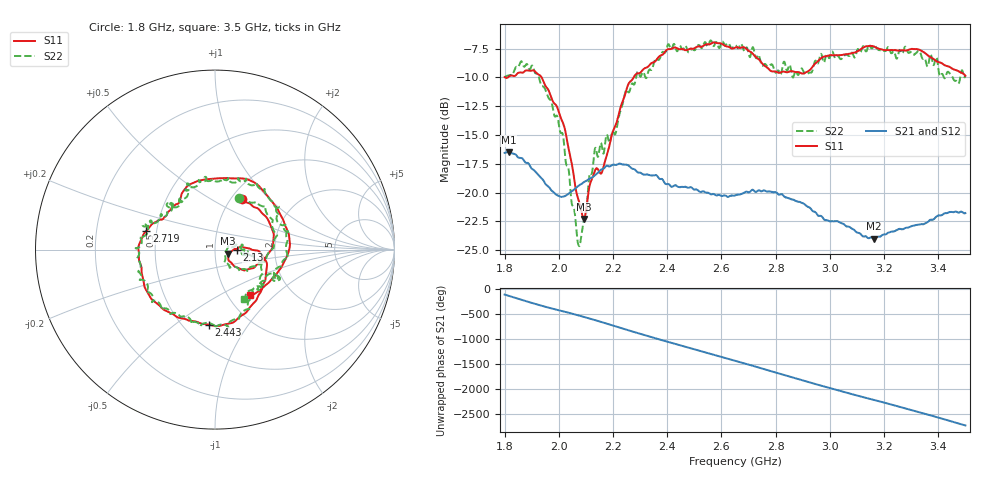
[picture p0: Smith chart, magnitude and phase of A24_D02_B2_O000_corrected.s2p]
! Created with skrf 1.9.0 (http://scikit-rf.org).
# Hz S RI R 50.0
!freq ReS11 ImS11 ReS21 ImS21 ReS12 ImS12 ReS22 ImS22
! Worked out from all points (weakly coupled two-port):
!   1601 points, 1.8 GHz to 3.5 GHz, reference 50 ohm
!   highest |S21| = -16.50 dB at 1.816 GHz (marker M1); lowest = -24.0 dB at 3.163 GHz (marker M2)
!   lowest |S11| = -22.3 dB at 2.092 GHz (marker M3), VSWR 1.17, Z = 57.8 - j2.65 ohm
!   |S11| at or under -10 dB: 1.801 GHz to 1.812 GHz (11.05 MHz wide, 0.612 % of centre); 1.936 GHz to 2.276 GHz (339.8 MHz wide, 16.1 % of centre)
!   |S22| runs from -24.7 to -6.8 dB; largest |S21 - S12| = 0.0026
!   S11 on the Smith chart (normalised r, x): 1.8 GHz: 1.12, +0.70; 2.13 GHz: 1.28, -0.01; 2.443 GHz: 0.66, -0.67; 2.719 GHz: 0.44, +0.11; 3.5 GHz: 1.26, -0.72
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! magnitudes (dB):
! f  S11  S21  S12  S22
! 1.8 GHz  -10.0  -16.6  -16.6  -9.9
! 1.816 GHz  -9.9  -16.5  -16.5  -9.8
! 1.902 GHz  -9.4  -18.0  -17.9  -9.0
! 1.968 GHz  -11.5  -19.7  -19.7  -11.9
! 2.015 GHz  -13.9  -20.4  -20.4  -15.0
! 2.071 GHz  -20.5  -19.4  -19.5  -24.4
! 2.084 GHz  -21.7  -19.3  -19.2  -23.6
! 2.092 GHz  -22.3  -19.1  -19.1  -22.4
! 2.13 GHz  -18.3  -18.5  -18.5  -16.6
! 2.162 GHz  -18.0  -18.0  -17.9  -16.5
! 2.209 GHz  -14.2  -17.6  -17.6  -14.9
! 2.259 GHz  -10.5  -17.7  -17.7  -11.3
! 2.367 GHz  -8.3  -18.7  -18.6  -8.5
! 2.443 GHz  -7.6  -19.5  -19.5  -7.4
! 2.65 GHz  -7.4  -20.2  -20.2  -7.2
! 2.719 GHz  -8.0  -19.8  -19.7  -7.6
! 2.804 GHz  -9.5  -20.0  -20.1  -9.5
! 2.934 GHz  -9.2  -21.5  -21.5  -9.5
! 3.163 GHz  -7.3  -24.0  -24.0  -7.2
! 3.217 GHz  -7.6  -23.5  -23.4  -7.4
! 3.328 GHz  -7.6  -22.8  -22.8  -7.7
! 3.5 GHz  -9.9  -21.8  -21.8  -9.9
